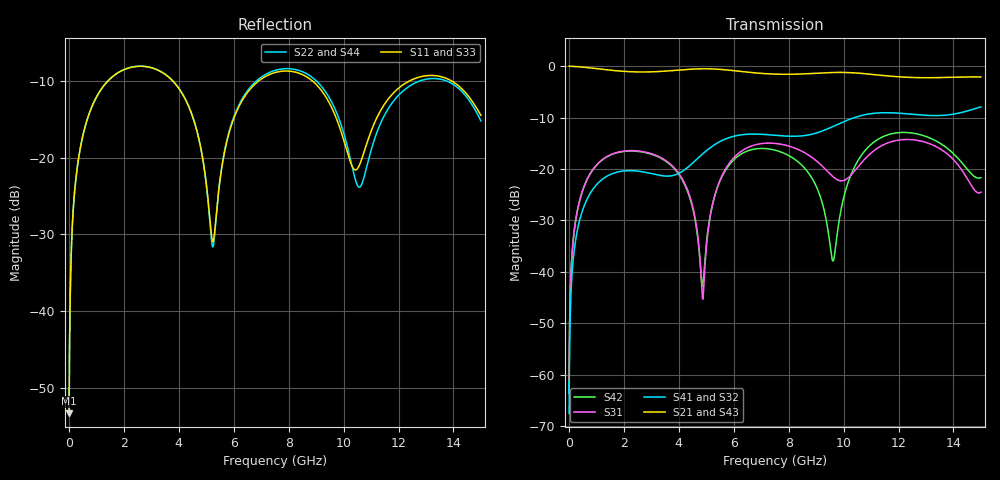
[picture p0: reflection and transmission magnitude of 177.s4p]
! Created with skrf 1.8.0 (http://scikit-rf.org).
# GHz S RI R 50.0
!freq ReS11 ImS11 ReS12 ImS12 ReS13 ImS13
! ReS14 ImS14
! ReS21 ImS21 ReS22 ImS22 ReS23 ImS23
! ReS24 ImS24
! ReS31 ImS31 ReS32 ImS32 ReS33 ImS33
! ReS34 ImS34
! ReS41 ImS41 ReS42 ImS42 ReS43 ImS43
! ReS44 ImS44
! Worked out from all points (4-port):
!   2499 points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, 5 MHz to 15 GHz, reference 50 ohm
!   strongest paths, dB at 5 MHz, 3.476 GHz, 7.19 GHz, 11.1 GHz, 15 GHz:
!     S21: 0.0, -1.0, -1.5, -1.7, -2.1
!     S43: 0.0, -1.0, -1.5, -1.6, -2.1
!     S41: -67.5, -21.4, -13.3, -9.2, -7.9
!     S32: -67.5, -21.4, -13.3, -9.2, -7.9
!     S31: -63.6, -18.2, -15.0, -16.5, -24.5
!     S42: -63.6, -18.3, -16.1, -14.8, -21.7
!   lowest |S11| = -53.3 dB at 5 MHz (marker M1), VSWR 1.00, Z = 50.2 + j0.131 ohm
!   |S11| at or under -10 dB: start of sweep to 1.412 GHz; 3.786 GHz to 6.899 GHz (3.113 GHz wide, 58.3 % of centre); 8.874 GHz to 12.38 GHz (3.509 GHz wide, 33 % of centre) (the widest 3 of 4)
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0.005  0.00171 0.00131  0.9983 -0.00334  8.54e-05 0.000652  -8.3e-05 -0.000413
       0.9983 -0.00334  0.00171 0.00131  -8.3e-05 -0.000413  8.53e-05 0.000652
       8.54e-05 0.000652  -8.3e-05 -0.000413  0.00171 0.00131  0.9983 -0.00334
       -8.3e-05 -0.000413  8.53e-05 0.000652  0.9983 -0.00334  0.00171 0.00131
1.569404  0.2883 0.173  0.5105 -0.7518  0.1297 0.0515  -0.0899 -0.000147
          0.5105 -0.7518  0.2891 0.1723  -0.0899 -0.000135  0.1275 0.0547
          0.1297 0.0515  -0.0899 -0.000135  0.2883 0.173  0.5105 -0.7518
          -0.0899 -0.000147  0.1275 0.0547  0.5105 -0.7518  0.2891 0.1723
4.870779  0.0471 -0.087  -0.8998 -0.2773  -0.00543 -8.66e-05  -0.0374 0.1353
          -0.8998 -0.2773  0.0445 -0.0877  -0.0372 0.1353  -0.00734 0.00072
          -0.00543 -8.66e-05  -0.0372 0.1353  0.0475 -0.0867  -0.8998 -0.2773
          -0.0374 0.1353  -0.00734 0.00072  -0.8998 -0.2773  0.0441 -0.0876
8.047103  0.367 -0.0133  -0.0222 0.832  0.1238 -0.1101  0.2018 -0.051
          -0.0222 0.832  0.38 -0.0273  0.2017 -0.0512  0.1214 -0.0543
          0.1238 -0.1101  0.2017 -0.0512  0.3687 -0.0143  -0.0224 0.8313
          0.2018 -0.051  0.1214 -0.0543  -0.0224 0.8313  0.3818 -0.0262
9.616507  0.1573 -0.1291  0.6653 0.5549  -0.0637 -0.055  0.1615 -0.2024
          0.6653 0.5549  0.1542 -0.1593  0.1614 -0.2027  -0.0122 -0.00376
          -0.0637 -0.055  0.1614 -0.2027  0.1592 -0.133  0.6636 0.5555
          0.1615 -0.2024  -0.0122 -0.00376  0.6636 0.5555  0.1581 -0.1616
10.84827  0.1058 0.0654  0.8376 -0.0604  0.0133 0.1303  -0.0427 -0.337
          0.8376 -0.0604  0.0779 0.0413  -0.0433 -0.3374  0.0783 0.1373
          0.0133 0.1303  -0.0433 -0.3374  0.1037 0.0589  0.8383 -0.0579
          -0.0427 -0.337  0.0783 0.1373  0.8383 -0.0579  0.0784 0.0347
15  0.1635 -0.0953  -0.6011 -0.5018  -0.0594 0.00292  -0.2563 0.3092
    -0.6011 -0.5018  0.151 -0.0866  -0.2544 0.3107  -0.0819 -0.00757
    -0.0594 0.00292  -0.2544 0.3107  0.1611 -0.0887  -0.6032 -0.5013
    -0.2563 0.3092  -0.0819 -0.00757  -0.6032 -0.5013  0.1434 -0.0838
